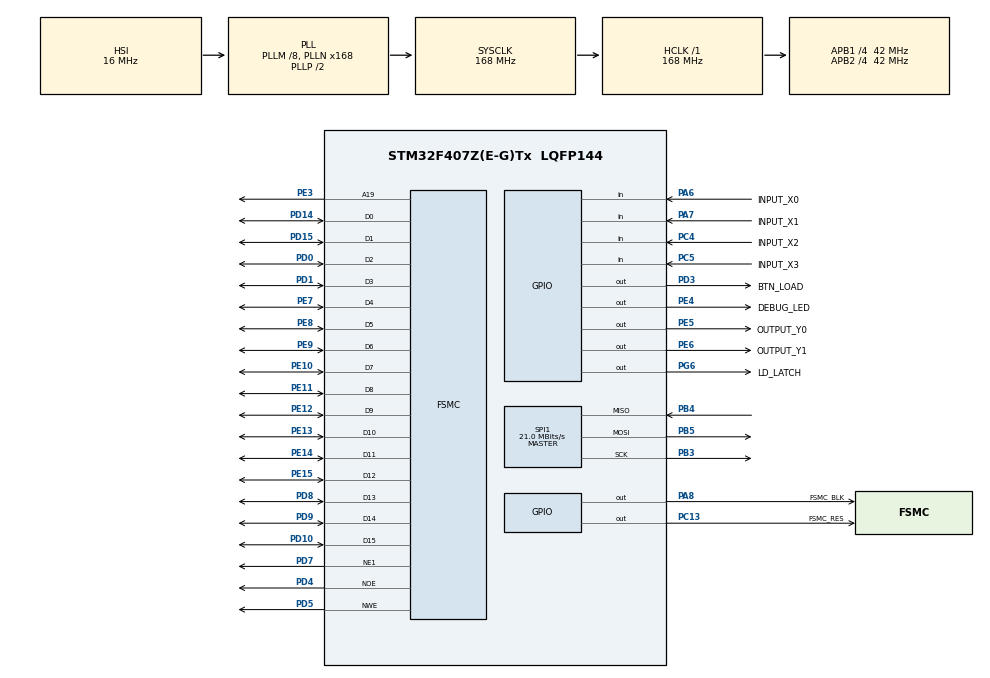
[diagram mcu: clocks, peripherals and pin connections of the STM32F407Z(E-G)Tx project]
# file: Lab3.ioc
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FSMC.AddressSetupTime1=0xf
FSMC.BusTurnAroundDuration1=0
FSMC.DataSetupTime1=60
FSMC.ExtendedAddressSetupTime1=8
FSMC.ExtendedBusTurnAroundDuration1=0
FSMC.ExtendedDataSetupTime1=9
FSMC.ExtendedMode1=FSMC_EXTENDED_MODE_ENABLE
Mcu.Family=STM32F4
Mcu.Name=STM32F407Z(E-G)Tx
Mcu.Package=LQFP144
NVIC.PriorityGroup=NVIC_PRIORITYGROUP_4
NVIC.TIM2_IRQn=true\:0\:0\:false\:false\:true\:true\:true
PA13.Mode=Serial_Wire
PA13.Signal=SYS_JTMS-SWDIO
PA14.Mode=Serial_Wire
PA14.Signal=SYS_JTCK-SWCLK
PA6.GPIO_Label=INPUT_X0
PA6.Signal=GPIO_Input
PA7.GPIO_Label=INPUT_X1
PA7.Signal=GPIO_Input
PA8.GPIO_Label=FSMC_BLK
PA8.Signal=GPIO_Output
PB3.Mode=Full_Duplex_Master
PB3.Signal=SPI1_SCK
PB4.Mode=Full_Duplex_Master
PB4.Signal=SPI1_MISO
PB5.Mode=Full_Duplex_Master
PB5.Signal=SPI1_MOSI
PC13-ANTI_TAMP.GPIO_Label=FSMC_RES
PC13-ANTI_TAMP.Signal=GPIO_Output
PC4.GPIO_Label=INPUT_X2
PC4.Signal=GPIO_Input
PC5.GPIO_Label=INPUT_X3
PC5.Signal=GPIO_Input
PD0.Signal=FSMC_D2_DA2
PD1.Signal=FSMC_D3_DA3
PD10.Signal=FSMC_D15_DA15
PD14.Signal=FSMC_D0_DA0
PD15.Signal=FSMC_D1_DA1
PD3.GPIO_Label=BTN_LOAD
PD3.Signal=GPIO_Output
PD4.Signal=FSMC_NOE
PD5.Signal=FSMC_NWE
PD7.Mode=NorPsramChipSelect1_1
PD7.Signal=FSMC_NE1
PD8.Signal=FSMC_D13_DA13
PD9.Signal=FSMC_D14_DA14
PE10.Signal=FSMC_D7_DA7
PE11.Signal=FSMC_D8_DA8
PE12.Signal=FSMC_D9_DA9
PE13.Signal=FSMC_D10_DA10
PE14.Signal=FSMC_D11_DA11
PE15.Signal=FSMC_D12_DA12
PE3.Signal=FSMC_A19
PE4.GPIO_Label=DEBUG_LED
PE4.Signal=GPIO_Output
PE5.GPIO_Label=OUTPUT_Y0
PE5.Signal=GPIO_Output
PE6.GPIO_Label=OUTPUT_Y1
PE6.Signal=GPIO_Output
PE7.Signal=FSMC_D4_DA4
PE8.Signal=FSMC_D5_DA5
PE9.Signal=FSMC_D6_DA6
PG6.GPIO_Label=LD_LATCH
PG6.Signal=GPIO_Output
PH0-OSC_IN.Mode=HSE-External-Oscillator
PH0-OSC_IN.Signal=RCC_OSC_IN
PH1-OSC_OUT.Mode=HSE-External-Oscillator
PH1-OSC_OUT.Signal=RCC_OSC_OUT
ProjectManager.HeapSize=0x200
ProjectManager.StackSize=0x400
ProjectManager.TargetToolchain=STM32CubeIDE
RCC.48MHZClocksFreq_Value=84000000
RCC.AHBFreq_Value=168000000
RCC.APB1CLKDivider=RCC_HCLK_DIV4
RCC.APB1Freq_Value=42000000
RCC.APB1TimFreq_Value=84000000
RCC.APB2CLKDivider=RCC_HCLK_DIV4
RCC.APB2Freq_Value=42000000
RCC.APB2TimFreq_Value=84000000
RCC.CortexFreq_Value=168000000
RCC.HCLKFreq_Value=168000000
RCC.HSE_VALUE=8000000
RCC.HSI_VALUE=16000000
RCC.LSE_VALUE=32768
RCC.PLLM=8
RCC.PLLN=168
RCC.SYSCLKFreq_VALUE=168000000
RCC.SYSCLKSource=RCC_SYSCLKSOURCE_PLLCLK
RCC.VCOOutputFreq_Value=336000000
SH.FSMC_A19.0=FSMC_A19,A19_1
SH.FSMC_D0_DA0.0=FSMC_D0,16b-d1
SH.FSMC_D10_DA10.0=FSMC_D10,16b-d1
SH.FSMC_D11_DA11.0=FSMC_D11,16b-d1
SH.FSMC_D12_DA12.0=FSMC_D12,16b-d1
SH.FSMC_D13_DA13.0=FSMC_D13,16b-d1
SH.FSMC_D14_DA14.0=FSMC_D14,16b-d1
SH.FSMC_D15_DA15.0=FSMC_D15,16b-d1
SH.FSMC_D1_DA1.0=FSMC_D1,16b-d1
SH.FSMC_D2_DA2.0=FSMC_D2,16b-d1
SH.FSMC_D3_DA3.0=FSMC_D3,16b-d1
SH.FSMC_D4_DA4.0=FSMC_D4,16b-d1
SH.FSMC_D5_DA5.0=FSMC_D5,16b-d1
SH.FSMC_D6_DA6.0=FSMC_D6,16b-d1
SH.FSMC_D7_DA7.0=FSMC_D7,16b-d1
SH.FSMC_D8_DA8.0=FSMC_D8,16b-d1
SH.FSMC_D9_DA9.0=FSMC_D9,16b-d1
SH.FSMC_NOE.0=FSMC_NOE,Lcd1
SH.FSMC_NWE.0=FSMC_NWE,Lcd1
SPI1.CalculateBaudRate=21.0 MBits/s
SPI1.Direction=SPI_DIRECTION_2LINES
SPI1.Mode=SPI_MODE_MASTER
SPI1.VirtualType=VM_MASTER
TIM2.Period=100 -1
TIM2.Prescaler=840-1
VP_TIM2_VS_ClockSourceINT.Mode=Internal
board=custom

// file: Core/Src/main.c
/* USER CODE BEGIN Header */
/**
  ******************************************************************************
  * @file           : main.c
  * @brief          : Main program body
  ******************************************************************************
  * @attention
  *
  * <h2><center>&copy; Copyright (c) 2025 STMicroelectronics.
  * All rights reserved.</center></h2>
  *
  * This software component is licensed by ST under BSD 3-Clause license,
  * the "License"; You may not use this file except in compliance with the
  * License. You may obtain a copy of the License at:
  *                        opensource.org/licenses/BSD-3-Clause
  *
  ******************************************************************************
  */
/* USER CODE END Header */
#include "main.h"
#include "spi.h"
#include "tim.h"
#include "gpio.h"
#include "fsmc.h"

/* USER CODE BEGIN Includes */
#include "lab3.h"
/* USER CODE END Includes */

void SystemClock_Config(void);
/* USER CODE BEGIN PFP */
void system_init(void);
void test_lcd (void);
void test_button(void);

/* USER CODE END PFP */

int main(void)
{

  /* MCU Configuration--------------------------------------------------------*/

  /* Reset of all peripherals, Initializes the Flash interface and the Systick. */
  HAL_Init();

  /* Configure the system clock */
  SystemClock_Config();

  /* Initialize all configured peripherals */
  MX_GPIO_Init();
  MX_TIM2_Init();
  MX_SPI1_Init();
  MX_FSMC_Init();
  /* USER CODE BEGIN 2 */
  system_init();
  lcd_Clear(WHITE);
  test_lcd();
  write_traffic_light_1();
  write_traffic_light_2();
  /* USER CODE END 2 */

  /* Infinite loop */
  while (1)
  {

    /* USER CODE BEGIN 3 */
	  while(!flag_timer2);
	  flag_timer2 = 0;
	  clock_count = ( clock_count + 1 ) % 21;

	  // Blink Mode_Led
	  blink_counter = ( blink_counter + 1) % 20;
	  if(clock_count >= 20){
		  past_1_second = 1;
		  if(state == RED_GREEN || state == RED_YELLOW
        || state == GREEN_RED || state == YELLOW_RED){
			  time_light_1--;
			  time_light_2--;
		  }
	  }
	  button_Scan();
//	  test_button();
	  fsm_traffic();
	  if(!manual){
		  led7_display(time_light_1, time_light_2);
	  }else{
		  led7_display(temp_mod_time, temp_mod_time);
	  }
//	  if(button_count[0] == 1)
//		  HAL_GPIO_TogglePin( DEBUG_LED_GPIO_Port,DEBUG_LED_Pin );
//
//	  // Press 2s = 40 * 50
//	  if( button_count [1] == 40)
//		  HAL_GPIO_TogglePin( DEBUG_LED_GPIO_Port , DEBUG_LED_Pin );

	  past_1_second = 0;

  }
  /* USER CODE END 3 */
}

void SystemClock_Config(void)
{
  RCC_OscInitTypeDef RCC_OscInitStruct = {0};
  RCC_ClkInitTypeDef RCC_ClkInitStruct = {0};

  /** Configure the main internal regulator output voltage
  */
  __HAL_RCC_PWR_CLK_ENABLE();
  __HAL_PWR_VOLTAGESCALING_CONFIG(PWR_REGULATOR_VOLTAGE_SCALE1);
  /** Initializes the RCC Oscillators according to the specified parameters
  * in the RCC_OscInitTypeDef structure.
  */
  RCC_OscInitStruct.OscillatorType = RCC_OSCILLATORTYPE_HSI;
  RCC_OscInitStruct.HSIState = RCC_HSI_ON;
  RCC_OscInitStruct.HSICalibrationValue = RCC_HSICALIBRATION_DEFAULT;
  RCC_OscInitStruct.PLL.PLLState = RCC_PLL_ON;
  RCC_OscInitStruct.PLL.PLLSource = RCC_PLLSOURCE_HSI;
  RCC_OscInitStruct.PLL.PLLM = 8;
  RCC_OscInitStruct.PLL.PLLN = 168;
  RCC_OscInitStruct.PLL.PLLP = RCC_PLLP_DIV2;
  RCC_OscInitStruct.PLL.PLLQ = 4;
  if (HAL_RCC_OscConfig(&RCC_OscInitStruct) != HAL_OK)
  {
    Error_Handler();
  }
  /** Initializes the CPU, AHB and APB buses clocks
  */
  RCC_ClkInitStruct.ClockType = RCC_CLOCKTYPE_HCLK|RCC_CLOCKTYPE_SYSCLK
                              |RCC_CLOCKTYPE_PCLK1|RCC_CLOCKTYPE_PCLK2;
  RCC_ClkInitStruct.SYSCLKSource = RCC_SYSCLKSOURCE_PLLCLK;
  RCC_ClkInitStruct.AHBCLKDivider = RCC_SYSCLK_DIV1;
  RCC_ClkInitStruct.APB1CLKDivider = RCC_HCLK_DIV4;
  RCC_ClkInitStruct.APB2CLKDivider = RCC_HCLK_DIV4;

  if (HAL_RCC_ClockConfig(&RCC_ClkInitStruct, FLASH_LATENCY_5) != HAL_OK)
  {
    Error_Handler();
  }
}

/* USER CODE BEGIN 4 */
void system_init(void){
	HAL_GPIO_WritePin(DEBUG_LED_GPIO_Port, DEBUG_LED_Pin, LEDOFF);
	HAL_GPIO_WritePin(OUTPUT_Y0_GPIO_Port, OUTPUT_Y0_Pin, LEDOFF);
	HAL_GPIO_WritePin(OUTPUT_Y1_GPIO_Port, OUTPUT_Y1_Pin, LEDOFF);
	clock[1] = 5;

	timer_init();
	led7_init();
	button_init();
	lcd_init();
	setTimer2(50);
}
void test_button(){
	for (int i = 0; i < 16; i ++) {
		if( button_count [i] == 1){
			lcd_ShowIntNum (140 , 105 , i, 2, BRED , WHITE , 32) ;
		}
	}
}
void test_lcd (){
	lcd_Fill (0, 0, 240 , 20, CYAN );
	lcd_StrCenter (0, 2, " TRAFFIC LIGHT ", BLACK , BLUE , 16,1);
	lcd_StrCenter (0, 300, "MODE:14, INC: 3, DEC:7, SET:12", BLACK , YELLOW , 16, 1);
	lcd_StrCenter (0 , 30, "NORMAL", WHITE , BLACK , 24,0);
}

/* USER CODE END 4 */

void Error_Handler(void)
{
  __disable_irq();
  while (1)
  {
  }
}

/************************ (C) COPYRIGHT STMicroelectronics *****END OF FILE****/
